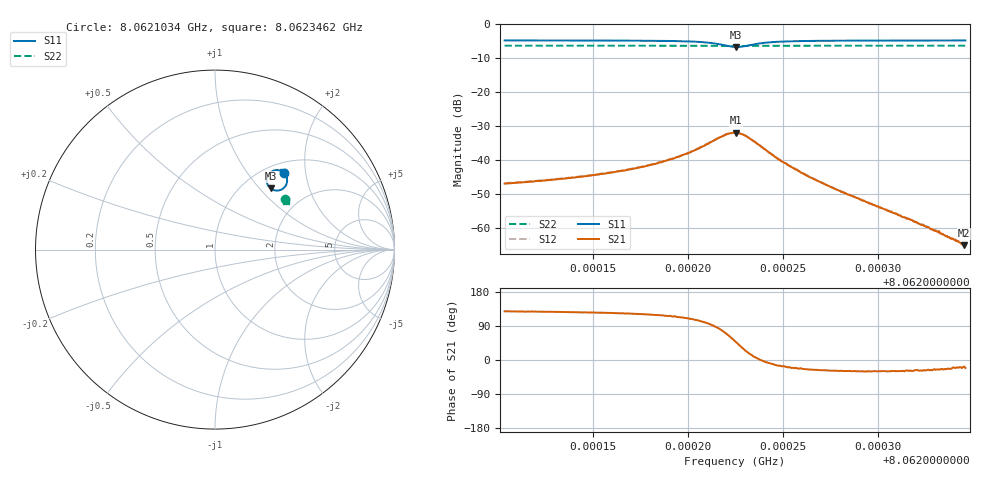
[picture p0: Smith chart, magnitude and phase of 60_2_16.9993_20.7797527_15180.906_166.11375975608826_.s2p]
#  HZ  S  RI  R  50.00
! Rohde & Schwarz Vector Network Analyzer
! Rohde-Schwarz,ZNB20-2Port,1311601062101988,3.16
! Created: UTC 3/20/2024, 10:54:46 PM
! freq[Hz]  re:S11  im:S11  re:S21  im:S21  re:S12  im:S12  re:S22  im:S22
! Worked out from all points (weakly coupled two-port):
!   401 points, 8.0621034 GHz to 8.0623462 GHz, reference 50 ohm
!   highest |S21| = -31.92 dB at 8.0622254 GHz (marker M1); lowest = -65.1 dB at 8.0623456 GHz (marker M2)
!   lowest |S11| = -6.7 dB at 8.0622254 GHz (marker M3), VSWR 2.71, Z = 66.4 + j57.5 ohm
!   |S11| at or under -10 dB: nowhere
!   |S22| runs from -6.4 to -6.3 dB; largest |S21 - S12| = 0.002
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8.06210336e9  0.3844 0.428  -0.00281 0.00353  -0.00261 0.00373  0.3889 0.2843
8.06214404e9  0.3901 0.4213  -0.00333 0.00464  -0.00307 0.0049  0.3903 0.2821
8.06216529e9  0.3941 0.4151  -0.00382 0.00582  -0.00348 0.00611  0.3911 0.2809
8.06218472e9  0.3991 0.4045  -0.00443 0.00807  -0.00389 0.00836  0.3916 0.2794
8.0621999e9  0.402 0.3864  -0.00425 0.0118  -0.00362 0.0123  0.392 0.2779
8.06221144e9  0.3939 0.3564  -0.00143 0.0179  -0.000368 0.0182  0.3916 0.2762
8.06221994e9  0.3546 0.3297  0.00795 0.0224  0.00949 0.0221  0.3897 0.2754
8.0622248e9  0.3141 0.3379  0.0163 0.0192  0.0179 0.0181  0.3883 0.2761
8.0622254e9  0.3093 0.3413  0.0173 0.0185  0.0186 0.0172  0.3881 0.2763
8.06222844e9  0.2925 0.3634  0.0202 0.0131  0.0212 0.0117  0.388 0.2774
8.06223087e9  0.288 0.3834  0.0206 0.00863  0.0214 0.00732  0.3881 0.2781
8.06223998e9  0.3091 0.4301  0.0147 -0.000776  0.0146 -0.00174  0.3898 0.2793
8.06224848e9  0.3313 0.4414  0.00971 -0.0026  0.00957 -0.00321  0.3914 0.2791
8.06226548e9  0.3544 0.4422  0.00488 -0.00234  0.00475 -0.00264  0.3928 0.278
8.06227823e9  0.363 0.4401  0.00325 -0.00176  0.00314 -0.00198  0.3935 0.2772
8.06230616e9  0.373 0.4359  0.00153 -0.000864  0.00152 -0.00095  0.3948 0.2756
8.06231709e9  0.3754 0.4346  0.00118 -0.000615  0.00116 -0.00068  0.3952 0.2751
8.06233045e9  0.3779 0.433  0.000813 -0.000391  0.00082 -0.000466  0.3958 0.2742
8.06233773e9  0.3791 0.4322  0.00067 -0.000293  0.000659 -0.00033  0.3959 0.2739
8.0623432e9  0.3798 0.4319  0.000583 -0.000199  0.000586 -0.000242  0.3961 0.2735
8.06234562e9  0.3801 0.4315  0.000532 -0.000168  0.000501 -0.000218  0.3962 0.2735
8.06234623e9  0.3803 0.4314  0.000538 -0.000206  0.000499 -0.000211  0.3962 0.2734
